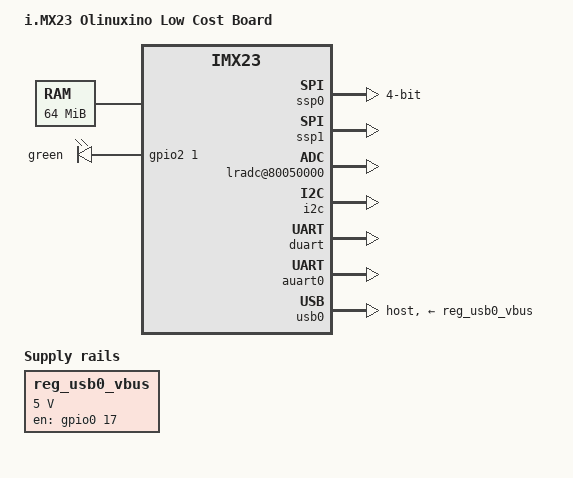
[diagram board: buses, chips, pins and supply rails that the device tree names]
/*
 * Copyright 2012 Freescale Semiconductor, Inc.
 *
 * Author: Fabio Estevam <fabio.estevam@freescale.com>
 *
 * The code contained herein is licensed under the GNU General Public
 * License. You may obtain a copy of the GNU General Public License
 * Version 2 or later at the following locations:
 *
 * http://www.opensource.org/licenses/gpl-license.html
 * http://www.gnu.org/copyleft/gpl.html
 */

/dts-v1/;
#include <dt-bindings/gpio/gpio.h>
#include "imx23.dtsi"

/ {
	model = "i.MX23 Olinuxino Low Cost Board";
	compatible = "olimex,imx23-olinuxino", "fsl,imx23";

	memory {
		reg = <0x40000000 0x04000000>;
	};

	apb@80000000 {
		apbh@80000000 {
			ssp0: ssp@80010000 {
				compatible = "fsl,imx23-mmc";
				pinctrl-names = "default";
				pinctrl-0 = <&mmc0_4bit_pins_a &mmc0_pins_fixup>;
				bus-width = <4>;
				broken-cd;
				status = "okay";
			};

			pinctrl@80018000 {
				pinctrl-names = "default";
				pinctrl-0 = <&hog_pins_a>;

				hog_pins_a: hog@0 {
					reg = <0>;
					fsl,pinmux-ids = <
						MX23_PAD_GPMI_ALE__GPIO_0_17
					>;
					fsl,drive-strength = <MXS_DRIVE_4mA>;
					fsl,voltage = <MXS_VOLTAGE_HIGH>;
					fsl,pull-up = <MXS_PULL_DISABLE>;
				};

				led_pin_gpio2_1: led_gpio2_1@0 {
					reg = <0>;
					fsl,pinmux-ids = <
						MX23_PAD_SSP1_DETECT__GPIO_2_1
					>;
					fsl,drive-strength = <MXS_DRIVE_4mA>;
					fsl,voltage = <MXS_VOLTAGE_HIGH>;
					fsl,pull-up = <MXS_PULL_DISABLE>;
				};
			};

			ssp1: ssp@80034000 {
				#address-cells = <1>;
				#size-cells = <0>;
				compatible = "fsl,imx23-spi";
				pinctrl-names = "default";
				pinctrl-0 = <&spi2_pins_a>;
				status = "okay";
			};
		};

		apbx@80040000 {
			lradc@80050000 {
				status = "okay";
			};

			i2c: i2c@80058000 {
				pinctrl-names = "default";
				pinctrl-0 = <&i2c_pins_b>;
				status = "okay";
			};

			duart: serial@80070000 {
				pinctrl-names = "default";
				pinctrl-0 = <&duart_pins_a>;
				status = "okay";
			};

			auart0: serial@8006c000 {
				pinctrl-names = "default";
				pinctrl-0 = <&auart0_2pins_a>;
				status = "okay";
			};

			usbphy0: usbphy@8007c000 {
				status = "okay";
			};
		};
	};

	ahb@80080000 {
		usb0: usb@80080000 {
			dr_mode = "host";
			vbus-supply = <&reg_usb0_vbus>;
			status = "okay";
		};
	};

	regulators {
		compatible = "simple-bus";
		#address-cells = <1>;
		#size-cells = <0>;

		reg_usb0_vbus: regulator@0 {
			compatible = "regulator-fixed";
			reg = <0>;
			regulator-name = "usb0_vbus";
			regulator-min-microvolt = <5000000>;
			regulator-max-microvolt = <5000000>;
			enable-active-high;
			startup-delay-us = <300>; /* LAN9215 requires a POR of 200us minimum */
			gpio = <&gpio0 17 0>;
		};
	};

	leds {
		compatible = "gpio-leds";
		pinctrl-names = "default";
		pinctrl-0 = <&led_pin_gpio2_1>;

		user {
			label = "green";
			gpios = <&gpio2 1 GPIO_ACTIVE_HIGH>;
		};
	};
};
